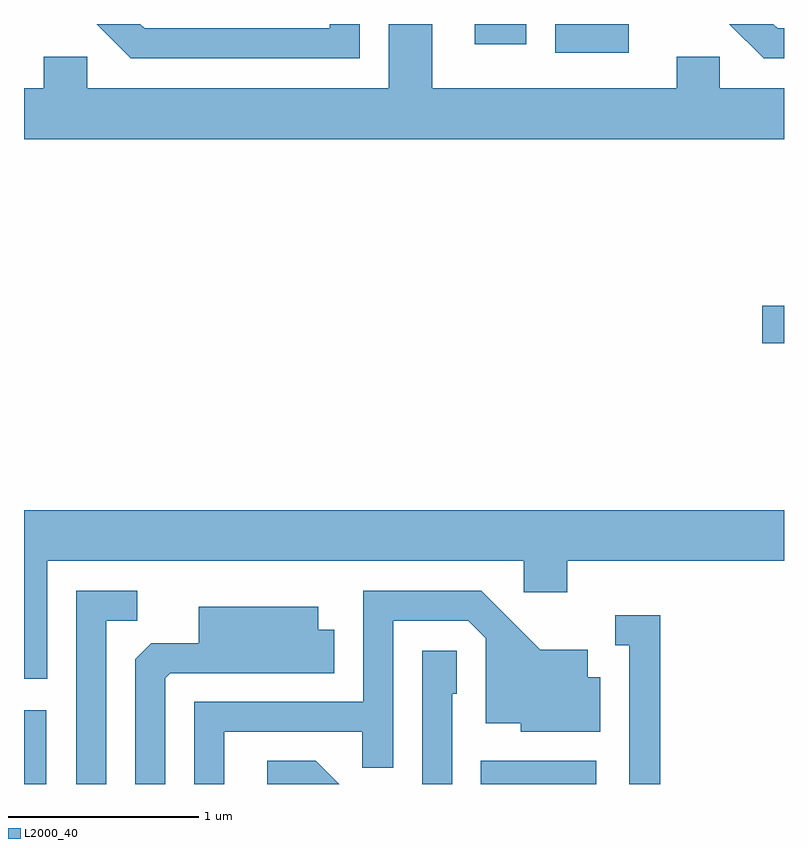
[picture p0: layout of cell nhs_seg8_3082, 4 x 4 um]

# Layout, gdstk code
import gdstk
lib = gdstk.Library(unit=1e-6, precision=1e-09)
def R(c, l, rs):  # rectangles x0, y0, x1, y1
    for r in rs: c.add(gdstk.rectangle(r[:2], r[2:], *l))
def P(c, l, *ps):  # polygons
    for p in ps: c.add(gdstk.Polygon(p, *l))
L2000_40 = (2000, 40)

nhs_seg8_3082 = lib.new_cell('nhs_seg8_3082')
R(nhs_seg8_3082, L2000_40, [(277.611,1846.342,277.729,1846.729), (280.016,1846.342,280.624,1846.464), (281.496,1848.661,281.611,1848.859), (280.406,1850.191,280.793,1850.342), (279.983,1850.236,280.254,1850.342)])
P(nhs_seg8_3082, L2000_40, [(281.611,1850.004),(281.274,1850.004),(281.274,1850.169),(281.046,1850.169),(281.046,1850.004),(279.759,1850.004),(279.759,1850.342),(279.531,1850.342),(279.531,1850.004),(277.944,1850.004),(277.944,1850.169),(277.716,1850.169),(277.716,1850.004),(277.611,1850.004),(277.611,1849.736),(281.611,1849.736)],
  [(279.379,1850.342),(279.221,1850.342),(279.221,1850.319),(278.247,1850.319),(278.224,1850.342),(277.993,1850.342),(278.174,1850.161),(279.379,1850.161)],
  [(281.611,1850.319),(281.577,1850.319),(281.554,1850.342),(281.323,1850.342),(281.504,1850.161),(281.611,1850.161)],
  [(277.734,1847.516),(280.241,1847.516),(280.241,1847.351),(280.469,1847.351),(280.469,1847.516),(281.611,1847.516),(281.611,1847.784),(277.611,1847.784),(277.611,1846.896),(277.734,1846.896)],
  [(278.044,1847.201),(278.208,1847.201),(278.208,1847.359),(277.886,1847.359),(277.886,1846.342),(278.044,1846.342)],
  [(278.664,1846.616),(279.391,1846.616),(279.391,1846.428),(279.554,1846.428),(279.554,1847.201),(279.949,1847.201),(280.041,1847.109),(280.041,1846.661),(280.226,1846.661),(280.226,1846.616),(280.644,1846.616),(280.644,1846.904),(280.579,1846.904),(280.579,1847.049),(280.327,1847.049),(280.017,1847.359),(279.396,1847.359),(279.396,1846.774),(278.506,1846.774),(278.506,1846.342),(278.664,1846.342)],
  [(278.354,1846.899),(278.382,1846.926),(279.244,1846.926),(279.244,1847.154),(279.159,1847.154),(279.159,1847.274),(278.531,1847.274),(278.531,1847.084),(278.282,1847.084),(278.196,1846.999),(278.196,1846.342),(278.354,1846.342)],
  [(280.959,1847.229),(280.723,1847.229),(280.723,1847.071),(280.796,1847.071),(280.796,1846.342),(280.959,1846.342)],
  [(279.864,1846.816),(279.889,1846.816),(279.889,1847.044),(279.706,1847.044),(279.706,1846.342),(279.864,1846.342)],
  [(279.147,1846.464),(278.891,1846.464),(278.891,1846.342),(279.269,1846.342)])

lib.write_gds('nhs_seg8_3082.gds')
